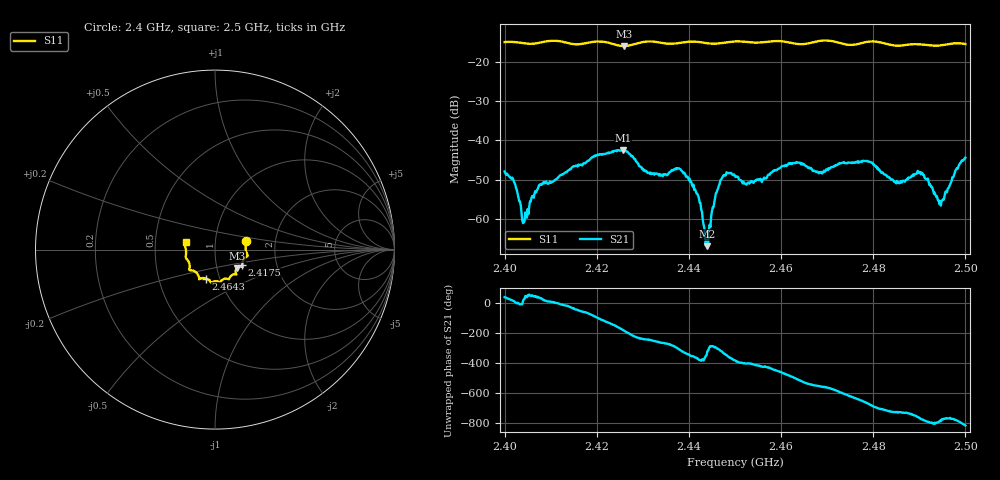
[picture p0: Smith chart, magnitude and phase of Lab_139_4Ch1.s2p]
# Hz S RI R 50
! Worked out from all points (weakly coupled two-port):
!   601 points, 2.4 GHz to 2.5 GHz, reference 50 ohm
!   highest |S21| = -42.46 dB at 2.4257 GHz (marker M1); lowest = -66.9 dB at 2.444 GHz (marker M2)
!   lowest |S11| = -15.9 dB at 2.4258 GHz (marker M3), VSWR 1.38, Z = 62.3 - j13.2 ohm
!   |S11| at or under -10 dB: start of sweep to end of sweep
!   S12 and S22 are empty: the file has one direction only
!   S11 on the Smith chart (normalised r, x): 2.4 GHz: 1.41, +0.14; 2.4175 GHz: 1.34, -0.23; 2.4643 GHz: 0.86, -0.29; 2.5 GHz: 0.72, +0.06
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2.4e9  0.1728 0.0485  0.00315 0.00252  0 0  0 0
2.402167e9  0.1751 0.0393  0.00282 0.000398  0 0  0 0
2.404333e9  0.1714 0.0216  0.000835 0.000438  0 0  0 0
2.408e9  0.1771 -0.0202  0.00234 0.00138  0 0  0 0
2.416667e9  0.153 -0.0739  0.00281 -0.00402  0 0  0 0
2.4175e9  0.152 -0.0833  0.00241 -0.00451  0 0  0 0
2.425667e9  0.1227 -0.1021  -0.00753 -1.73e-05  0 0  0 0
2.425833e9  0.1216 -0.1033  -0.00744 0.000361  0 0  0 0
2.433333e9  0.1133 -0.1373  -0.000664 0.00366  0 0  0 0
2.44e9  0.0789 -0.1633  0.00303 0.00071  0 0  0 0
2.442e9  0.0743 -0.1644  0.00191 -0.00055  0 0  0 0
2.444e9  0.0634 -0.1611  0.00036 0.000269  0 0  0 0
2.447e9  0.0405 -0.1688  0.00252 0.00195  0 0  0 0
2.45e9  0.0288 -0.1808  0.00319 -0.00143  0 0  0 0
2.452667e9  0.0193 -0.1785  0.00205 -0.00197  0 0  0 0
2.464333e9  -0.0499 -0.1611  -0.00471 -0.00155  0 0  0 0
2.466667e9  -0.076 -0.1594  -0.0043 0.000381  0 0  0 0
2.478167e9  -0.1362 -0.1153  0.00291 0.00463  0 0  0 0
2.483333e9  -0.1413 -0.0901  0.00338 -0.000191  0 0  0 0
2.490167e9  -0.1634 -0.0393  0.00245 -0.0031  0 0  0 0
2.494833e9  -0.1634 0.00775  0.000867 -0.00148  0 0  0 0
2.5e9  -0.1638 0.0434  -0.000941 -0.00597  0 0  0 0
